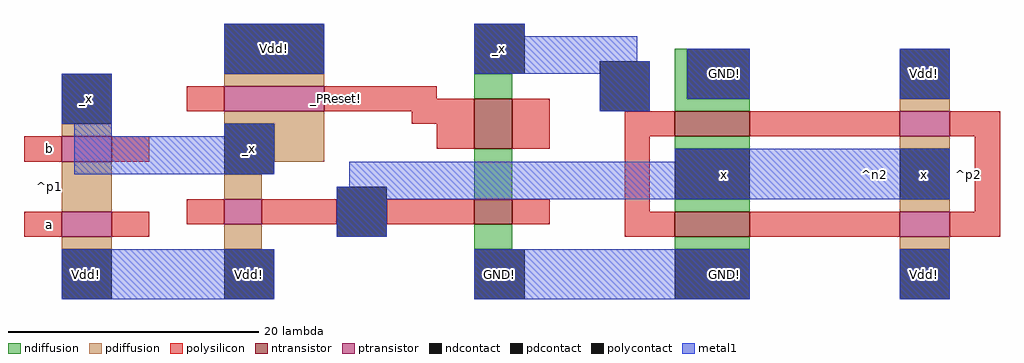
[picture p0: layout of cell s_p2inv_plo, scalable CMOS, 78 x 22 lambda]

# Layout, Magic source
magic
tech scmos
<< ndiffusion >>
rect 127 76 130 78
rect 143 76 144 80
rect 143 75 149 76
rect 127 68 130 72
rect 143 72 149 73
rect 143 67 149 68
rect 127 64 130 66
rect 143 64 149 65
<< pdiffusion >>
rect 107 77 115 78
rect 94 73 98 74
rect 107 74 115 75
rect 94 67 98 71
rect 111 71 115 74
rect 161 75 165 76
rect 107 68 110 70
rect 94 64 98 65
rect 107 64 110 66
rect 161 72 165 73
rect 161 67 165 68
rect 161 64 165 65
<< ntransistor >>
rect 127 72 130 76
rect 143 73 149 75
rect 127 66 130 68
rect 143 65 149 67
<< ptransistor >>
rect 107 75 115 77
rect 94 71 98 73
rect 161 73 165 75
rect 94 65 98 67
rect 107 66 110 68
rect 161 65 165 67
<< polysilicon >>
rect 104 75 107 77
rect 115 76 124 77
rect 115 75 127 76
rect 122 74 127 75
rect 91 71 94 73
rect 98 71 101 73
rect 124 72 127 74
rect 130 72 133 76
rect 139 73 143 75
rect 149 73 161 75
rect 165 73 169 75
rect 91 65 94 67
rect 98 65 101 67
rect 104 66 107 68
rect 110 66 116 68
rect 120 66 127 68
rect 130 66 133 68
rect 139 67 141 73
rect 167 67 169 73
rect 139 65 143 67
rect 149 65 161 67
rect 165 65 169 67
<< ndcontact >>
rect 127 78 131 82
rect 144 76 149 80
rect 143 68 149 72
rect 127 60 131 64
rect 143 60 149 64
<< pdcontact >>
rect 107 78 115 82
rect 94 74 98 78
rect 107 70 111 74
rect 161 76 165 80
rect 94 60 98 64
rect 161 68 165 72
rect 107 60 111 64
rect 161 60 165 64
<< polycontact >>
rect 137 75 141 79
rect 116 65 120 69
<< metal1 >>
rect 107 78 115 82
rect 127 81 131 82
rect 127 79 140 81
rect 127 78 141 79
rect 94 74 98 78
rect 137 75 141 78
rect 144 76 149 80
rect 161 76 165 80
rect 95 73 98 74
rect 107 73 111 74
rect 95 70 111 73
rect 143 71 165 72
rect 117 69 165 71
rect 116 68 165 69
rect 116 65 120 68
rect 94 60 111 64
rect 127 60 149 64
rect 161 60 165 64
<< labels >>
rlabel polysilicon 93 66 93 66 3 a
rlabel polysilicon 93 72 93 72 3 b
rlabel space 91 59 95 79 7 ^p1
rlabel polysilicon 116 76 116 76 5 _PReset!
rlabel space 164 59 169 81 3 ^p2
rlabel space 148 58 170 82 3 ^n2
rlabel ndcontact 129 62 129 62 1 GND!
rlabel ndcontact 129 80 129 80 5 _x
rlabel pdcontact 96 62 96 62 1 Vdd!
rlabel pdcontact 96 76 96 76 1 _x
rlabel pdcontact 111 80 111 80 1 Vdd!
rlabel pdcontact 109 72 109 72 5 _x
rlabel pdcontact 109 62 109 62 1 Vdd!
rlabel ndcontact 147 62 147 62 1 GND!
rlabel ndcontact 147 78 147 78 5 GND!
rlabel pdcontact 163 70 163 70 1 x
rlabel ndcontact 147 70 147 70 1 x
rlabel pdcontact 163 78 163 78 5 Vdd!
rlabel pdcontact 163 62 163 62 1 Vdd!
<< end >>
